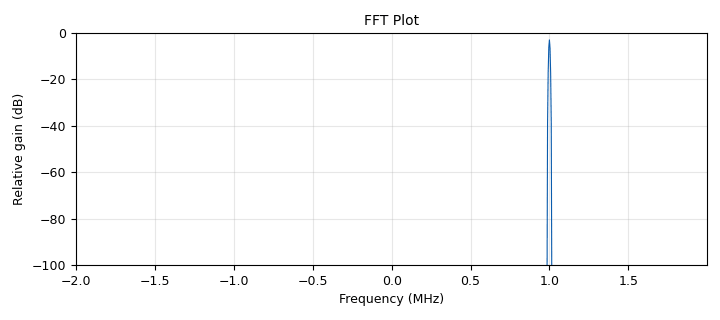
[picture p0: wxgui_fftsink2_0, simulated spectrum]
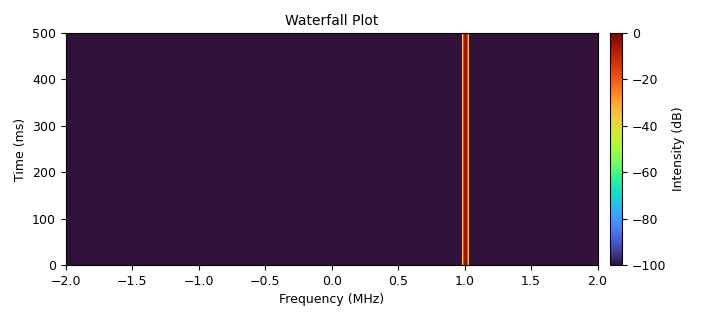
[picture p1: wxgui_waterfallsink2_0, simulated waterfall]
<?xml version='1.0' encoding='utf-8'?>
<?grc format='1' created='3.7.10'?>
<flow_graph>
<block>
<key>options</key>
<param><key>id</key><value>top_block</value></param>
<param><key>category</key><value>Custom</value></param>
<param><key>generate_options</key><value>wx_gui</value></param>
</block>
<block>
<key>variable</key>
<param><key>id</key><value>samp_rate</value></param>
<param><key>value</key><value>4e6</value></param>
</block>
<block>
<key>variable</key>
<param><key>id</key><value>signal_freq</value></param>
<param><key>value</key><value>1e6</value></param>
</block>
<block>
<key>analog_sig_source_x</key>
<param><key>id</key><value>analog_sig_source_x_0</value></param>
<param><key>amp</key><value>1</value></param>
<param><key>freq</key><value>signal_freq</value></param>
<param><key>offset</key><value>0</value></param>
<param><key>type</key><value>complex</value></param>
<param><key>samp_rate</key><value>samp_rate</value></param>
<param><key>waveform</key><value>analog.GR_COS_WAVE</value></param>
</block>
<block>
<key>analog_sig_source_x</key>
<param><key>id</key><value>analog_sig_source_x_2</value></param>
<param><key>amp</key><value>1</value></param>
<param><key>freq</key><value>5e-1</value></param>
<param><key>offset</key><value>0</value></param>
<param><key>type</key><value>complex</value></param>
<param><key>samp_rate</key><value>samp_rate</value></param>
<param><key>waveform</key><value>analog.GR_SQR_WAVE</value></param>
</block>
<block>
<key>blocks_multiply_xx</key>
<param><key>id</key><value>blocks_multiply_xx_0</value></param>
<param><key>type</key><value>complex</value></param>
</block>
<block>
<key>blocks_throttle</key>
<param><key>id</key><value>blocks_throttle_0</value></param>
<param><key>samples_per_second</key><value>samp_rate</value></param>
<param><key>type</key><value>complex</value></param>
</block>
<block>
<key>wxgui_fftsink2</key>
<param><key>id</key><value>wxgui_fftsink2_0</value></param>
<param><key>avg_alpha</key><value>0</value></param>
<param><key>average</key><value>False</value></param>
<param><key>baseband_freq</key><value>0</value></param>
<param><key>fft_size</key><value>1024</value></param>
<param><key>freqvar</key><value>None</value></param>
<param><key>peak_hold</key><value>False</value></param>
<param><key>ref_level</key><value>0</value></param>
<param><key>ref_scale</key><value>2.0</value></param>
<param><key>fft_rate</key><value>15</value></param>
<param><key>samp_rate</key><value>samp_rate</value></param>
<param><key>title</key><value>FFT Plot</value></param>
<param><key>type</key><value>complex</value></param>
<param><key>win</key><value>None</value></param>
<param><key>y_divs</key><value>10</value></param>
<param><key>y_per_div</key><value>10</value></param>
</block>
<block>
<key>wxgui_waterfallsink2</key>
<param><key>id</key><value>wxgui_waterfallsink2_0</value></param>
<param><key>avg_alpha</key><value>0</value></param>
<param><key>average</key><value>False</value></param>
<param><key>baseband_freq</key><value>0</value></param>
<param><key>dynamic_range</key><value>100</value></param>
<param><key>fft_rate</key><value>15</value></param>
<param><key>fft_size</key><value>512</value></param>
<param><key>freqvar</key><value>None</value></param>
<param><key>ref_scale</key><value>2.0</value></param>
<param><key>ref_level</key><value>0</value></param>
<param><key>samp_rate</key><value>samp_rate</value></param>
<param><key>title</key><value>Waterfall Plot</value></param>
<param><key>type</key><value>complex</value></param>
<param><key>win</key><value>None</value></param>
</block>
<connection><source_block_id>analog_sig_source_x_0</source_block_id><sink_block_id>blocks_multiply_xx_0</sink_block_id><source_key>0</source_key><sink_key>0</sink_key></connection>
<connection><source_block_id>analog_sig_source_x_2</source_block_id><sink_block_id>blocks_multiply_xx_0</sink_block_id><source_key>0</source_key><sink_key>1</sink_key></connection>
<connection><source_block_id>blocks_multiply_xx_0</source_block_id><sink_block_id>blocks_throttle_0</sink_block_id><source_key>0</source_key><sink_key>0</sink_key></connection>
<connection><source_block_id>blocks_throttle_0</source_block_id><sink_block_id>wxgui_fftsink2_0</sink_block_id><source_key>0</source_key><sink_key>0</sink_key></connection>
<connection><source_block_id>blocks_throttle_0</source_block_id><sink_block_id>wxgui_waterfallsink2_0</sink_block_id><source_key>0</source_key><sink_key>0</sink_key></connection>
</flow_graph>
